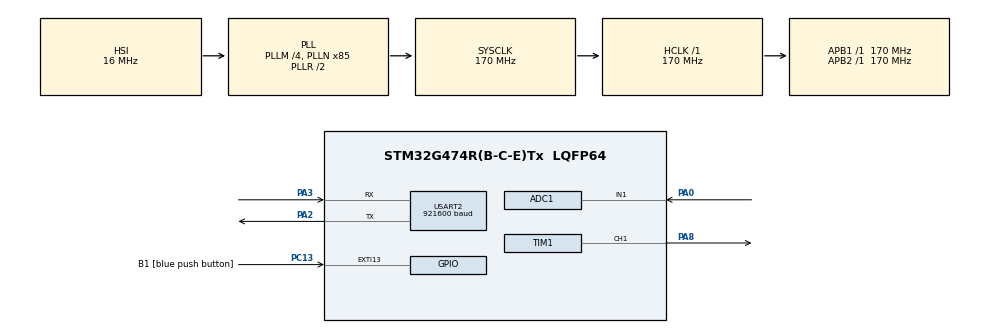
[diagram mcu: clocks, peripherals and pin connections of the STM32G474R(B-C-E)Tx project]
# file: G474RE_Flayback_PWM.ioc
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ADC1.Channel-0\#ChannelRegularConversion=ADC_CHANNEL_1
ADC1.ContinuousConvMode=DISABLE
ADC1.DMAContinuousRequests=ENABLE
ADC1.EnableAnalogWatchDog1=false
ADC1.ExternalTrigConv=ADC_EXTERNALTRIG_T6_TRGO
ADC1.NbrOfConversionFlag=1
ADC1.OffsetNumber-0\#ChannelRegularConversion=ADC_OFFSET_NONE
ADC1.Overrun=ADC_OVR_DATA_OVERWRITTEN
ADC1.OversamplingMode=ENABLE
ADC1.Rank-0\#ChannelRegularConversion=1
ADC1.Ratio=ADC_OVERSAMPLING_RATIO_4
ADC1.RightBitShift=ADC_RIGHTBITSHIFT_2
ADC1.SamplingTime-0\#ChannelRegularConversion=ADC_SAMPLETIME_24CYCLES_5
ADC1.master=1
Dma.ADC1.0.Direction=DMA_PERIPH_TO_MEMORY
Dma.ADC1.0.EventEnable=DISABLE
Dma.ADC1.0.Instance=DMA1_Channel1
Dma.ADC1.0.MemDataAlignment=DMA_MDATAALIGN_HALFWORD
Dma.ADC1.0.MemInc=DMA_MINC_ENABLE
Dma.ADC1.0.Mode=DMA_CIRCULAR
Dma.ADC1.0.PeriphDataAlignment=DMA_PDATAALIGN_HALFWORD
Dma.ADC1.0.PeriphInc=DMA_PINC_DISABLE
Dma.ADC1.0.Polarity=HAL_DMAMUX_REQ_GEN_RISING
Dma.ADC1.0.Priority=DMA_PRIORITY_LOW
Dma.ADC1.0.RequestNumber=1
Dma.ADC1.0.SignalID=NONE
Dma.ADC1.0.SyncEnable=DISABLE
Dma.ADC1.0.SyncPolarity=HAL_DMAMUX_SYNC_NO_EVENT
Dma.ADC1.0.SyncRequestNumber=1
Dma.ADC1.0.SyncSignalID=NONE
Dma.Request0=ADC1
Mcu.Family=STM32G4
Mcu.Name=STM32G474R(B-C-E)Tx
Mcu.Package=LQFP64
NVIC.ADC1_2_IRQn=true\:0\:0\:false\:false\:true\:true\:true\:true
NVIC.DMA1_Channel1_IRQn=true\:0\:0\:false\:false\:true\:false\:true\:true
NVIC.EXTI15_10_IRQn=true\:0\:0\:false\:false\:true\:true\:true\:true
NVIC.PriorityGroup=NVIC_PRIORITYGROUP_4
NVIC.TIM6_DAC_IRQn=true\:0\:0\:false\:false\:true\:true\:true\:true
PA0.Mode=IN1-Single-Ended
PA0.Signal=ADC1_IN1
PA13.GPIO_Label=T_SWDIO
PA13.Signal=SYS_JTMS-SWDIO
PA14.GPIO_Label=T_SWCLK
PA14.Signal=SYS_JTCK-SWCLK
PA2.Mode=Asynchronous
PA2.Signal=USART2_TX
PA3.Mode=Asynchronous
PA3.Signal=USART2_RX
PA8.Signal=S_TIM1_CH1
PB3.GPIO_Label=T_SWO
PB3.Signal=SYS_JTDO-SWO
PC13.GPIO_Label=B1 [blue push button]
PC13.Signal=GPXTI13
PC14-OSC32_IN.GPIO_Label=RCC_OSC32_IN
PC14-OSC32_IN.Signal=RCC_OSC32_IN
PC15-OSC32_OUT.GPIO_Label=RCC_OSC32_OUT
PC15-OSC32_OUT.Signal=RCC_OSC32_OUT
PF0-OSC_IN.GPIO_Label=RCC_OSC_IN
PF0-OSC_IN.Signal=RCC_OSC_IN
PF1-OSC_OUT.GPIO_Label=RCC_OSC_OUT
PF1-OSC_OUT.Signal=RCC_OSC_OUT
ProjectManager.HeapSize=0x200
ProjectManager.StackSize=0x400
ProjectManager.TargetToolchain=STM32CubeIDE
RCC.ADC12Freq_Value=170000000
RCC.ADC345Freq_Value=170000000
RCC.AHBFreq_Value=170000000
RCC.APB1Freq_Value=170000000
RCC.APB1TimFreq_Value=170000000
RCC.APB2Freq_Value=170000000
RCC.APB2TimFreq_Value=170000000
RCC.CortexFreq_Value=170000000
RCC.EXTERNAL_CLOCK_VALUE=12288000
RCC.HCLKFreq_Value=170000000
RCC.HSE_VALUE=24000000
RCC.HSI48_VALUE=48000000
RCC.HSI_VALUE=16000000
RCC.LSE_VALUE=32768
RCC.PLLM=RCC_PLLM_DIV4
RCC.PLLN=85
RCC.RTCClockSelection=RCC_RTCCLKSOURCE_LSE
RCC.SYSCLKFreq_VALUE=170000000
RCC.SYSCLKSource=RCC_SYSCLKSOURCE_PLLCLK
RCC.USBFreq_Value=170000000
RCC.VCOOutputFreq_Value=340000000
SH.S_TIM1_CH1.0=TIM1_CH1,PWM Generation1 CH1
TIM1.BreakFilter=0
TIM1.Channel-PWM\ Generation1\ CH1=TIM_CHANNEL_1
TIM1.PeriodNoDither=849
TIM1.Prescaler=1
TIM6.PeriodNoDither=99
TIM6.Prescaler=17
TIM6.TIM_MasterOutputTrigger=TIM_TRGO_UPDATE
USART2.BaudRate=921600
USART2.VirtualMode-Asynchronous=VM_ASYNC
VP_SYS_VS_DBSignals.Mode=DisableDeadBatterySignals
VP_TIM6_VS_ClockSourceINT.Mode=Enable_Timer
board=NUCLEO-G474RE

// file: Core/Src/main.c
/* USER CODE BEGIN Header */
/**
  ******************************************************************************
  * @file           : main.c
  * @brief          : Main program body
  ******************************************************************************
  * @attention
  *
  * Copyright (c) 2025 STMicroelectronics.
  * All rights reserved.
  *
  * This software is licensed under terms that can be found in the LICENSE file
  * in the root directory of this software component.
  * If no LICENSE file comes with this software, it is provided AS-IS.
  *
  ******************************************************************************
  */
/* USER CODE END Header */
#include "main.h"

/* USER CODE BEGIN PD */
#define ADC_BUFFER_LEN 64 //2제곱수로
#define ADC_SHIFTER 6 //위에꺼에 log2, 비트시프트용
/* USER CODE END PD */

ADC_HandleTypeDef hadc1;
DMA_HandleTypeDef hdma_adc1;

TIM_HandleTypeDef htim1;
TIM_HandleTypeDef htim6;

UART_HandleTypeDef huart2;

/* USER CODE BEGIN PV */
volatile uint8_t changeDutyFlag = 0;
static const double min_duty = 0.03;
static const double max_duty = 0.65;
volatile double duty_inc = 0.0000003;
double dutyCycle = 0.26;

volatile uint16_t current_adc[ADC_BUFFER_LEN] = {0};
volatile uint16_t adc_avg = 0;

volatile double resultPI = 0.0;
volatile double asdf = 0.0;

uint16_t ref_code = 1379;

double Kp = 0.0001;
double Ki = 0.00005;
/* USER CODE END PV */

void SystemClock_Config(void);
static void MX_GPIO_Init(void);
static void MX_DMA_Init(void);
static void MX_ADC1_Init(void);
static void MX_TIM1_Init(void);
static void MX_USART2_UART_Init(void);
static void MX_TIM6_Init(void);

/* USER CODE BEGIN 0 */
void setDuty(double *duty) {
    if (*duty < min_duty) *duty = min_duty;
    if (*duty > max_duty) *duty = max_duty;
    __HAL_TIM_SET_COMPARE(&htim1, TIM_CHANNEL_1, (uint32_t)(*duty * (htim1.Init.Period + 1)));
}

// MA 계산
void calculateMA(void) {
    uint32_t adder = 0;
    for (int i = 1; i <= (ADC_BUFFER_LEN - 1); i++) {
        adder += current_adc[i];
    }
    adder >>= ADC_SHIFTER;
    adc_avg = (uint16_t) adder;
}

// PI 제어
void calculatePI(void) {
    int16_t error = ref_code - adc_avg;

    // P 제어: 현재 듀티에서 에러에 비례하여 증감
    double p_term = Kp * error;

    dutyCycle = dutyCycle + p_term;
    changeDutyFlag = 1;
}
/* USER CODE END 0 */

int main(void)
{

  /* MCU Configuration--------------------------------------------------------*/

  /* Reset of all peripherals, Initializes the Flash interface and the Systick. */
  HAL_Init();

  /* Configure the system clock */
  SystemClock_Config();

  /* Initialize all configured peripherals */
  MX_GPIO_Init();
  MX_DMA_Init();
  MX_ADC1_Init();
  MX_TIM1_Init();
  MX_USART2_UART_Init();
  MX_TIM6_Init();
  /* USER CODE BEGIN 2 */
  HAL_ADCEx_Calibration_Start(&hadc1, ADC_SINGLE_ENDED);
  HAL_Delay(100);
  HAL_TIM_Base_Start(&htim6);
  HAL_ADC_Start_DMA(&hadc1, (uint32_t *) current_adc, ADC_BUFFER_LEN);

  HAL_TIM_PWM_Start(&htim1, TIM_CHANNEL_1);
  setDuty(&dutyCycle);

  /* USER CODE END 2 */

  /* Infinite loop */
  /* USER CODE BEGIN WHILE */
  while (1)
  {
      if (HAL_GPIO_ReadPin(B1_GPIO_Port, B1_Pin) == GPIO_PIN_SET) {
          dutyCycle += 0.0000003;
          if (dutyCycle > max_duty) dutyCycle = min_duty;
          changeDutyFlag = 1;
      }
      if (changeDutyFlag) {
          setDuty(&dutyCycle);
          changeDutyFlag = 0;
      }
    /* USER CODE END WHILE */

  }
}

void SystemClock_Config(void)
{
  RCC_OscInitTypeDef RCC_OscInitStruct = {0};
  RCC_ClkInitTypeDef RCC_ClkInitStruct = {0};

  /** Configure the main internal regulator output voltage
  */
  HAL_PWREx_ControlVoltageScaling(PWR_REGULATOR_VOLTAGE_SCALE1_BOOST);

  /** Initializes the RCC Oscillators according to the specified parameters
  * in the RCC_OscInitTypeDef structure.
  */
  RCC_OscInitStruct.OscillatorType = RCC_OSCILLATORTYPE_HSI;
  RCC_OscInitStruct.HSIState = RCC_HSI_ON;
  RCC_OscInitStruct.HSICalibrationValue = RCC_HSICALIBRATION_DEFAULT;
  RCC_OscInitStruct.PLL.PLLState = RCC_PLL_ON;
  RCC_OscInitStruct.PLL.PLLSource = RCC_PLLSOURCE_HSI;
  RCC_OscInitStruct.PLL.PLLM = RCC_PLLM_DIV4;
  RCC_OscInitStruct.PLL.PLLN = 85;
  RCC_OscInitStruct.PLL.PLLP = RCC_PLLP_DIV2;
  RCC_OscInitStruct.PLL.PLLQ = RCC_PLLQ_DIV2;
  RCC_OscInitStruct.PLL.PLLR = RCC_PLLR_DIV2;
  if (HAL_RCC_OscConfig(&RCC_OscInitStruct) != HAL_OK)
  {
    Error_Handler();
  }

  /** Initializes the CPU, AHB and APB buses clocks
  */
  RCC_ClkInitStruct.ClockType = RCC_CLOCKTYPE_HCLK|RCC_CLOCKTYPE_SYSCLK
                              |RCC_CLOCKTYPE_PCLK1|RCC_CLOCKTYPE_PCLK2;
  RCC_ClkInitStruct.SYSCLKSource = RCC_SYSCLKSOURCE_PLLCLK;
  RCC_ClkInitStruct.AHBCLKDivider = RCC_SYSCLK_DIV1;
  RCC_ClkInitStruct.APB1CLKDivider = RCC_HCLK_DIV1;
  RCC_ClkInitStruct.APB2CLKDivider = RCC_HCLK_DIV1;

  if (HAL_RCC_ClockConfig(&RCC_ClkInitStruct, FLASH_LATENCY_4) != HAL_OK)
  {
    Error_Handler();
  }
}

static void MX_ADC1_Init(void)
{

  ADC_MultiModeTypeDef multimode = {0};
  ADC_ChannelConfTypeDef sConfig = {0};

  /** Common config
  */
  hadc1.Instance = ADC1;
  hadc1.Init.ClockPrescaler = ADC_CLOCK_SYNC_PCLK_DIV4;
  hadc1.Init.Resolution = ADC_RESOLUTION_12B;
  hadc1.Init.DataAlign = ADC_DATAALIGN_RIGHT;
  hadc1.Init.GainCompensation = 0;
  hadc1.Init.ScanConvMode = ADC_SCAN_DISABLE;
  hadc1.Init.EOCSelection = ADC_EOC_SINGLE_CONV;
  hadc1.Init.LowPowerAutoWait = DISABLE;
  hadc1.Init.ContinuousConvMode = DISABLE;
  hadc1.Init.NbrOfConversion = 1;
  hadc1.Init.DiscontinuousConvMode = DISABLE;
  hadc1.Init.ExternalTrigConv = ADC_EXTERNALTRIG_T6_TRGO;
  hadc1.Init.ExternalTrigConvEdge = ADC_EXTERNALTRIGCONVEDGE_RISING;
  hadc1.Init.DMAContinuousRequests = ENABLE;
  hadc1.Init.Overrun = ADC_OVR_DATA_OVERWRITTEN;
  hadc1.Init.OversamplingMode = ENABLE;
  hadc1.Init.Oversampling.Ratio = ADC_OVERSAMPLING_RATIO_4;
  hadc1.Init.Oversampling.RightBitShift = ADC_RIGHTBITSHIFT_2;
  hadc1.Init.Oversampling.TriggeredMode = ADC_TRIGGEREDMODE_SINGLE_TRIGGER;
  hadc1.Init.Oversampling.OversamplingStopReset = ADC_REGOVERSAMPLING_CONTINUED_MODE;
  if (HAL_ADC_Init(&hadc1) != HAL_OK)
  {
    Error_Handler();
  }

  /** Configure the ADC multi-mode
  */
  multimode.Mode = ADC_MODE_INDEPENDENT;
  if (HAL_ADCEx_MultiModeConfigChannel(&hadc1, &multimode) != HAL_OK)
  {
    Error_Handler();
  }

  /** Configure Regular Channel
  */
  sConfig.Channel = ADC_CHANNEL_1;
  sConfig.Rank = ADC_REGULAR_RANK_1;
  sConfig.SamplingTime = ADC_SAMPLETIME_24CYCLES_5;
  sConfig.SingleDiff = ADC_SINGLE_ENDED;
  sConfig.OffsetNumber = ADC_OFFSET_NONE;
  sConfig.Offset = 0;
  if (HAL_ADC_ConfigChannel(&hadc1, &sConfig) != HAL_OK)
  {
    Error_Handler();
  }

}

static void MX_TIM1_Init(void)
{

  TIM_MasterConfigTypeDef sMasterConfig = {0};
  TIM_OC_InitTypeDef sConfigOC = {0};
  TIM_BreakDeadTimeConfigTypeDef sBreakDeadTimeConfig = {0};

  htim1.Instance = TIM1;
  htim1.Init.Prescaler = 1;
  htim1.Init.CounterMode = TIM_COUNTERMODE_UP;
  htim1.Init.Period = 849;
  htim1.Init.ClockDivision = TIM_CLOCKDIVISION_DIV1;
  htim1.Init.RepetitionCounter = 0;
  htim1.Init.AutoReloadPreload = TIM_AUTORELOAD_PRELOAD_DISABLE;
  if (HAL_TIM_PWM_Init(&htim1) != HAL_OK)
  {
    Error_Handler();
  }
  sMasterConfig.MasterOutputTrigger = TIM_TRGO_RESET;
  sMasterConfig.MasterOutputTrigger2 = TIM_TRGO2_RESET;
  sMasterConfig.MasterSlaveMode = TIM_MASTERSLAVEMODE_DISABLE;
  if (HAL_TIMEx_MasterConfigSynchronization(&htim1, &sMasterConfig) != HAL_OK)
  {
    Error_Handler();
  }
  sConfigOC.OCMode = TIM_OCMODE_PWM1;
  sConfigOC.Pulse = 0;
  sConfigOC.OCPolarity = TIM_OCPOLARITY_HIGH;
  sConfigOC.OCNPolarity = TIM_OCNPOLARITY_HIGH;
  sConfigOC.OCFastMode = TIM_OCFAST_DISABLE;
  sConfigOC.OCIdleState = TIM_OCIDLESTATE_RESET;
  sConfigOC.OCNIdleState = TIM_OCNIDLESTATE_RESET;
  if (HAL_TIM_PWM_ConfigChannel(&htim1, &sConfigOC, TIM_CHANNEL_1) != HAL_OK)
  {
    Error_Handler();
  }
  sBreakDeadTimeConfig.OffStateRunMode = TIM_OSSR_DISABLE;
  sBreakDeadTimeConfig.OffStateIDLEMode = TIM_OSSI_DISABLE;
  sBreakDeadTimeConfig.LockLevel = TIM_LOCKLEVEL_OFF;
  sBreakDeadTimeConfig.DeadTime = 0;
  sBreakDeadTimeConfig.BreakState = TIM_BREAK_DISABLE;
  sBreakDeadTimeConfig.BreakPolarity = TIM_BREAKPOLARITY_HIGH;
  sBreakDeadTimeConfig.BreakFilter = 0;
  sBreakDeadTimeConfig.BreakAFMode = TIM_BREAK_AFMODE_INPUT;
  sBreakDeadTimeConfig.Break2State = TIM_BREAK2_DISABLE;
  sBreakDeadTimeConfig.Break2Polarity = TIM_BREAK2POLARITY_HIGH;
  sBreakDeadTimeConfig.Break2Filter = 0;
  sBreakDeadTimeConfig.Break2AFMode = TIM_BREAK_AFMODE_INPUT;
  sBreakDeadTimeConfig.AutomaticOutput = TIM_AUTOMATICOUTPUT_DISABLE;
  if (HAL_TIMEx_ConfigBreakDeadTime(&htim1, &sBreakDeadTimeConfig) != HAL_OK)
  {
    Error_Handler();
  }
  HAL_TIM_MspPostInit(&htim1);

}

static void MX_TIM6_Init(void)
{

  TIM_MasterConfigTypeDef sMasterConfig = {0};

  htim6.Instance = TIM6;
  htim6.Init.Prescaler = 17;
  htim6.Init.CounterMode = TIM_COUNTERMODE_UP;
  htim6.Init.Period = 99;
  htim6.Init.AutoReloadPreload = TIM_AUTORELOAD_PRELOAD_DISABLE;
  if (HAL_TIM_Base_Init(&htim6) != HAL_OK)
  {
    Error_Handler();
  }
  sMasterConfig.MasterOutputTrigger = TIM_TRGO_UPDATE;
  sMasterConfig.MasterSlaveMode = TIM_MASTERSLAVEMODE_DISABLE;
  if (HAL_TIMEx_MasterConfigSynchronization(&htim6, &sMasterConfig) != HAL_OK)
  {
    Error_Handler();
  }

}

static void MX_USART2_UART_Init(void)
{

  huart2.Instance = USART2;
  huart2.Init.BaudRate = 921600;
  huart2.Init.WordLength = UART_WORDLENGTH_8B;
  huart2.Init.StopBits = UART_STOPBITS_1;
  huart2.Init.Parity = UART_PARITY_NONE;
  huart2.Init.Mode = UART_MODE_TX_RX;
  huart2.Init.HwFlowCtl = UART_HWCONTROL_NONE;
  huart2.Init.OverSampling = UART_OVERSAMPLING_16;
  huart2.Init.OneBitSampling = UART_ONE_BIT_SAMPLE_DISABLE;
  huart2.Init.ClockPrescaler = UART_PRESCALER_DIV1;
  huart2.AdvancedInit.AdvFeatureInit = UART_ADVFEATURE_NO_INIT;
  if (HAL_UART_Init(&huart2) != HAL_OK)
  {
    Error_Handler();
  }
  if (HAL_UARTEx_SetTxFifoThreshold(&huart2, UART_TXFIFO_THRESHOLD_1_8) != HAL_OK)
  {
    Error_Handler();
  }
  if (HAL_UARTEx_SetRxFifoThreshold(&huart2, UART_RXFIFO_THRESHOLD_1_8) != HAL_OK)
  {
    Error_Handler();
  }
  if (HAL_UARTEx_DisableFifoMode(&huart2) != HAL_OK)
  {
    Error_Handler();
  }

}

static void MX_DMA_Init(void)
{

  /* DMA controller clock enable */
  __HAL_RCC_DMAMUX1_CLK_ENABLE();
  __HAL_RCC_DMA1_CLK_ENABLE();

  /* DMA interrupt init */
  /* DMA1_Channel1_IRQn interrupt configuration */
  HAL_NVIC_SetPriority(DMA1_Channel1_IRQn, 0, 0);
  HAL_NVIC_EnableIRQ(DMA1_Channel1_IRQn);

}

static void MX_GPIO_Init(void)
{
  GPIO_InitTypeDef GPIO_InitStruct = {0};

  /* GPIO Ports Clock Enable */
  __HAL_RCC_GPIOC_CLK_ENABLE();
  __HAL_RCC_GPIOF_CLK_ENABLE();
  __HAL_RCC_GPIOA_CLK_ENABLE();
  __HAL_RCC_GPIOB_CLK_ENABLE();

  /*Configure GPIO pin : B1_Pin */
  GPIO_InitStruct.Pin = B1_Pin;
  GPIO_InitStruct.Mode = GPIO_MODE_IT_RISING;
  GPIO_InitStruct.Pull = GPIO_NOPULL;
  HAL_GPIO_Init(B1_GPIO_Port, &GPIO_InitStruct);

  /* EXTI interrupt init*/
  HAL_NVIC_SetPriority(EXTI15_10_IRQn, 0, 0);
  HAL_NVIC_EnableIRQ(EXTI15_10_IRQn);

}

/* USER CODE BEGIN 4 */
void HAL_ADC_ConvCpltCallback(ADC_HandleTypeDef* hadc) {
    if (hadc->Instance == ADC1) {
        calculateMA();
        calculatePI();
    }
}
/* USER CODE END 4 */

void Error_Handler(void)
{
  __disable_irq();
  while (1)
  {
  }
}
